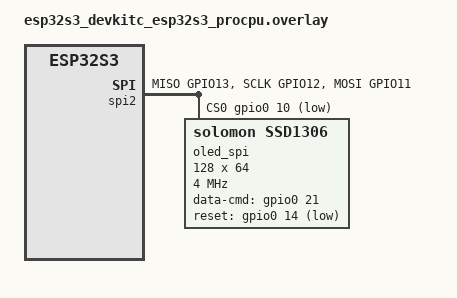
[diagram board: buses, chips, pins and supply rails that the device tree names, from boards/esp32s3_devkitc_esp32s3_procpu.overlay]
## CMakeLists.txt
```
cmake_minimum_required(VERSION 3.20.0)

find_package(Zephyr REQUIRED HINTS $ENV{ZEPHYR_BASE})
project(oled_ssd1306_spi)

target_sources(app PRIVATE src/main.c)
```

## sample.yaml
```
sample:
  description: 0.96" SSD1306 OLED over SPI, updated from a dedicated thread
  name: oled_ssd1306_spi
common:
  tags:
    - display
    - spi
tests:
  sample.display.ssd1306_spi:
    platform_allow:
      - esp32s3_devkitc/esp32s3/procpu
    harness: console
    harness_config:
      type: one_line
      regex:
        - "DisplayThread: ready \\(SPI mode\\)"
```

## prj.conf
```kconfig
CONFIG_SPI=y
CONFIG_DISPLAY=y
CONFIG_CHARACTER_FRAMEBUFFER=y
CONFIG_SSD1306=y
CONFIG_HEAP_MEM_POOL_SIZE=16384
```

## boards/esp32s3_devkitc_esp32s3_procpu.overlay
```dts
/*
 * SSD1306 OLED over SPI. Uses the same SCK/MOSI/CS wiring convention
 * as this curriculum's non-OS SPI labs (MOSI=11, MISO=13, SCK=12) -
 * MISO is unused by this write-only display but the pin is still
 * routed for consistency with other SPI labs sharing the same bus.
 *
 * Requires a 7-pin SPI variant of the SSD1306 module (VCC, GND, SCK,
 * SDA/MOSI, RES, DC, CS) - the common 4-pin I2C-only module used in
 * Lab 2 will NOT work here.
 */

&pinctrl {
	spim2_default: spim2_default {
		group1 {
			pinmux = <SPIM2_MISO_GPIO13>, <SPIM2_SCLK_GPIO12>;
		};
		group2 {
			pinmux = <SPIM2_MOSI_GPIO11>;
			output-low;
		};
	};
};

&spi2 {
	#address-cells = <1>;
	#size-cells = <0>;
	status = "okay";
	pinctrl-0 = <&spim2_default>;
	pinctrl-names = "default";
	cs-gpios = <&gpio0 10 GPIO_ACTIVE_LOW>;   /* CS */

	oled_spi: ssd1306@0 {
		compatible = "solomon,ssd1306";
		reg = <0>;
		spi-max-frequency = <4000000>;
		data-cmd-gpios = <&gpio0 21 GPIO_ACTIVE_HIGH>;
		reset-gpios = <&gpio0 14 GPIO_ACTIVE_LOW>;  /* RES */
		width = <128>;
		height = <64>;
		segment-offset = <0>;
		page-offset = <0>;
		display-offset = <0>;
		multiplex-ratio = <63>;
		segment-remap;
		com-invdir;
		prechargep = <0x22>;
	};
};

/ {
	chosen {
		zephyr,display = &oled_spi;
	};
};
```

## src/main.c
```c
/*
 * OLED (SSD1306, 0.96") over SPI - Zephyr, ESP32-S3
 *
 * This file is intentionally almost identical to Lab 2's main.c
 * (I2C mode). Only the overlay changed (bus type, compatible node
 * properties) - the application code barely differs, which is the
 * point of pairing these two labs.
 */

#include <zephyr/kernel.h>
#include <zephyr/device.h>
#include <zephyr/drivers/display.h>
#include <zephyr/display/cfb.h>
#include <stdio.h>

#define DISPLAY_STACK_SIZE 2048
#define DISPLAY_PRIORITY   5

static void display_thread_entry(void *p1, void *p2, void *p3)
{
	ARG_UNUSED(p1);
	ARG_UNUSED(p2);
	ARG_UNUSED(p3);

	const struct device *dev = DEVICE_DT_GET(DT_CHOSEN(zephyr_display));

	if (!device_is_ready(dev)) {
		printk("DisplayThread: display device not ready\n");
		return;
	}

	if (display_set_pixel_format(dev, PIXEL_FORMAT_MONO10) != 0) {
		display_set_pixel_format(dev, PIXEL_FORMAT_MONO01);
	}

	if (cfb_framebuffer_init(dev)) {
		printk("DisplayThread: framebuffer init failed\n");
		return;
	}

	cfb_framebuffer_clear(dev, true);
	display_blanking_off(dev);

	printk("DisplayThread: ready (SPI mode)\n");

	int counter = 0;

	while (1) {
		char buf[32];

		snprintf(buf, sizeof(buf), "Count: %d", counter++);

		cfb_framebuffer_clear(dev, false);
		cfb_print(dev, "SSD1306 (SPI)", 0, 0);
		cfb_print(dev, buf, 0, 16);
		cfb_framebuffer_finalize(dev);

		k_sleep(K_SECONDS(1));
	}
}

K_THREAD_DEFINE(display_id, DISPLAY_STACK_SIZE, display_thread_entry,
		 NULL, NULL, NULL, DISPLAY_PRIORITY, 0, 0);

int main(void)
{
	printk("main: started, DisplayThread is running independently\n");
	return 0;
}
```
